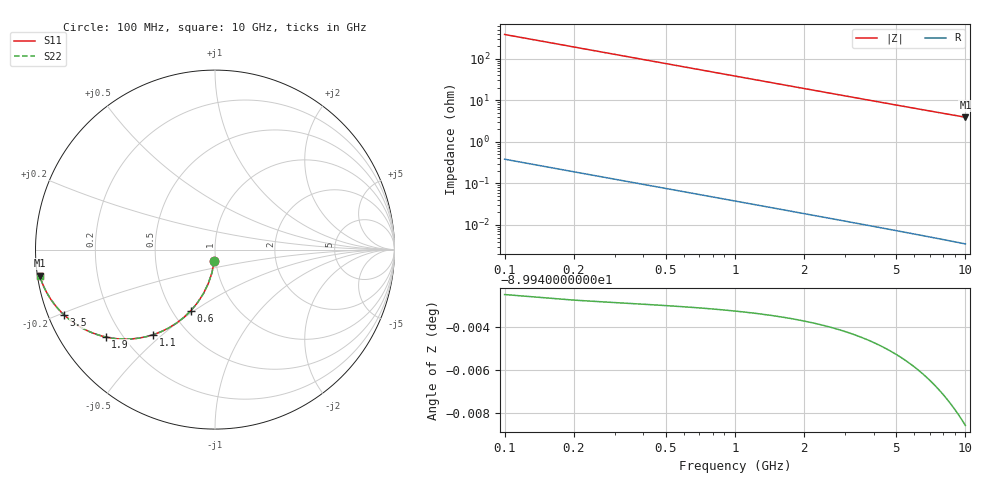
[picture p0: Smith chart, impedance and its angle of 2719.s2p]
# Hz S RI R 50.00
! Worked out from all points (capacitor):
!   100 points, 100 MHz to 10 GHz, reference 50 ohm
!   read as one part in shunt: C = 4.18 pF near 100 MHz
!   lowest |Z| = 3.91 ohm at 10 GHz (marker M1)
!   S11 on the Smith chart (normalised r, x): 100 MHz: 0.98, -0.13; 600 MHz: 0.62, -0.49; 1.1 GHz: 0.32, -0.47; 1.9 GHz: 0.14, -0.34; 3.5 GHz: 0.05, -0.21; 10 GHz: 0.01, -0.07
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1e8  -0.00435 -0.0654  0.9956 -0.0654  0.9956 -0.0654  -0.00435 -0.0654
2e8  -0.0171 -0.129  0.9829 -0.1292  0.9829 -0.1292  -0.0171 -0.129
3e8  -0.0375 -0.1895  0.9624 -0.1897  0.9624 -0.1897  -0.0375 -0.1895
4e8  -0.0648 -0.2455  0.9352 -0.2458  0.9352 -0.2458  -0.0648 -0.2455
5e8  -0.0976 -0.2961  0.9024 -0.2965  0.9024 -0.2965  -0.0976 -0.2961
6e8  -0.1347 -0.3406  0.8653 -0.3411  0.8653 -0.3411  -0.1347 -0.3406
8e8  -0.2166 -0.4111  0.7834 -0.4117  0.7834 -0.4117  -0.2166 -0.4111
9e8  -0.2591 -0.4373  0.7409 -0.438  0.7409 -0.438  -0.2591 -0.4373
1.1e9  -0.343 -0.4738  0.657 -0.4746  0.657 -0.4746  -0.343 -0.4738
1.4e9  -0.458 -0.4972  0.542 -0.4983  0.542 -0.4983  -0.458 -0.4972
1.8e9  -0.5826 -0.4919  0.4174 -0.4933  0.4174 -0.4933  -0.5826 -0.4919
1.9e9  -0.6085 -0.4868  0.3914 -0.4883  0.3914 -0.4883  -0.6085 -0.4868
2.2e9  -0.6756 -0.4668  0.3243 -0.4685  0.3243 -0.4685  -0.6756 -0.4668
2.6e9  -0.744 -0.4349  0.2559 -0.4369  0.2559 -0.4369  -0.744 -0.4349
3e9  -0.7945 -0.4023  0.2054 -0.4047  0.2054 -0.4047  -0.7945 -0.4023
3.4e9  -0.8323 -0.3717  0.1676 -0.3744  0.1676 -0.3744  -0.8323 -0.3717
3.5e9  -0.8402 -0.3645  0.1597 -0.3673  0.1597 -0.3673  -0.8402 -0.3645
4.2e9  -0.8832 -0.3189  0.1167 -0.3223  0.1167 -0.3223  -0.8832 -0.3189
5.1e9  -0.9176 -0.2723  0.0823 -0.2764  0.0823 -0.2764  -0.9176 -0.2723
6.7e9  -0.9505 -0.2136  0.0494 -0.219  0.0494 -0.219  -0.9505 -0.2136
8.4e9  -0.9679 -0.1722  0.032 -0.1789  0.032 -0.1789  -0.9679 -0.1722
1e10  -0.9772 -0.1446  0.0227 -0.1527  0.0227 -0.1527  -0.9772 -0.1446
